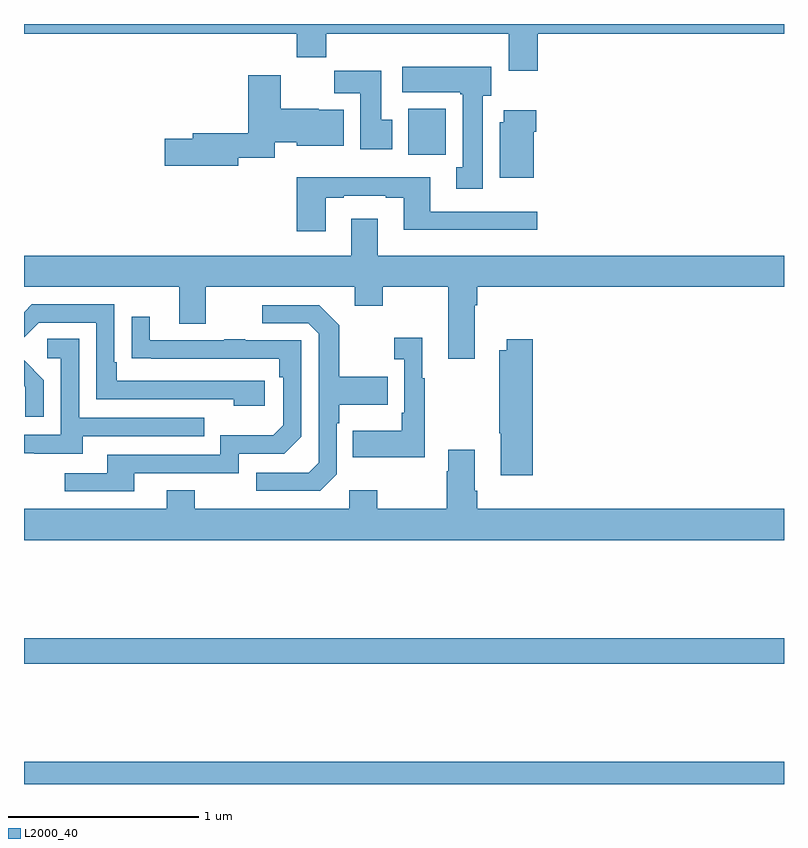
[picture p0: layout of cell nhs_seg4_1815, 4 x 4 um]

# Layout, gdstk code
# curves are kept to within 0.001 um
import gdstk
lib = gdstk.Library(unit=1e-6, precision=1e-09)
def R(c, l, rs):  # rectangles x0, y0, x1, y1
    for r in rs: c.add(gdstk.rectangle(r[:2], r[2:], *l))
def P(c, l, *ps):  # polygons
    for p in ps: c.add(gdstk.Polygon(p, *l))
L2000_40 = (2000, 40)

nhs_seg4_1815 = lib.new_cell('nhs_seg4_1815')
R(nhs_seg4_1815, L2000_40, [(205,764.9,209,765.016), (205,765.532,209,765.668), (207.023,768.212,207.22,768.454)])
P(nhs_seg4_1815, L2000_40, [(207.704,768.848),(209,768.848),(209,768.9),(205,768.9),(205,768.848),(206.435,768.848),(206.435,768.724),(206.591,768.724),(206.591,768.848),(207.551,768.848),(207.551,768.654),(207.704,768.654)],
  [(207.415,768.522),(207.46,768.522),(207.46,768.676),(206.991,768.676),(206.991,768.542),(207.295,768.542),(207.295,768.529),(207.308,768.529),(207.308,768.146),(207.275,768.146),(207.275,768.033),(207.415,768.033)],
  [(206.938,768.396),(206.881,768.396),(206.881,768.655),(206.632,768.655),(206.632,768.536),(206.771,768.536),(206.771,768.24),(206.938,768.24)],
  [(206.128,768.196),(206.32,768.196),(206.32,768.278),(206.436,768.278),(206.436,768.26),(206.683,768.26),(206.683,768.448),(206.55,768.448),(206.55,768.454),(206.35,768.454),(206.35,768.631),(206.18,768.631),(206.18,768.326),(205.889,768.326),(205.889,768.296),(205.74,768.296),(205.74,768.154),(206.128,768.154)],
  [(207.682,768.332),(207.695,768.332),(207.695,768.445),(207.524,768.445),(207.524,768.384),(207.503,768.384),(207.503,768.092),(207.682,768.092)],
  [(206.587,767.985),(206.683,767.985),(206.683,767.997),(206.903,767.997),(206.903,767.985),(206.999,767.985),(206.999,767.816),(207.7,767.816),(207.7,767.913),(207.139,767.913),(207.139,768.094),(206.435,768.094),(206.435,767.808),(206.587,767.808)],
  [(207.373,767.42),(207.386,767.42),(207.386,767.516),(209,767.516),(209,767.68),(206.863,767.68),(206.863,767.875),(206.723,767.875),(206.723,767.68),(205,767.68),(205,767.516),(205.817,767.516),(205.817,767.322),(205.957,767.322),(205.957,767.516),(206.741,767.516),(206.741,767.417),(206.889,767.417),(206.889,767.516),(207.233,767.516),(207.233,767.139),(207.373,767.139)],
  [(206.266,767.022),(205.489,767.022),(205.489,767.119),(205.476,767.119),(205.476,767.424),(205.041,767.424),(205,767.383),(205,767.251),(205.077,767.328),(205.38,767.328),(205.38,766.926),(206.105,766.926),(206.105,766.892),(206.266,766.892)],
  [(206.646,766.53),(206.646,766.799),(206.659,766.799),(206.659,766.895),(206.915,766.895),(206.915,767.043),(206.659,767.043),(206.659,767.315),(206.553,767.421),(206.253,767.421),(206.253,767.325),(206.496,767.325),(206.55,767.271),(206.55,766.59),(206.499,766.539),(206.223,766.539),(206.223,766.443),(206.559,766.443)],
  [(205.579,766.536),(206.13,766.536),(206.13,766.638),(206.37,766.638),(206.46,766.728),(206.46,767.235),(206.165,767.235),(206.165,767.24),(206.053,767.24),(206.053,767.235),(205.663,767.235),(205.663,767.359),(205.567,767.359),(205.567,767.14),(206.344,767.139),(206.344,767.042),(206.364,767.042),(206.364,766.788),(206.311,766.735),(206.034,766.735),(206.034,766.632),(205.439,766.632),(205.439,766.536),(205.215,766.536),(205.215,766.44),(205.579,766.44)],
  [(207.109,767.035),(207.097,767.035),(207.097,767.248),(206.949,767.248),(206.949,767.135),(207,767.135),(207,766.855),(206.988,766.855),(206.988,766.759),(206.731,766.759),(206.731,766.619),(207.109,766.619)],
  [(205.309,766.731),(205.949,766.731),(205.949,766.827),(205.29,766.827),(205.29,767.243),(205.122,767.243),(205.122,767.142),(205.194,767.142),(205.194,766.737),(205,766.737),(205,766.641),(205.055,766.641),(205.055,766.637),(205.309,766.637)],
  [(207.677,767.242),(207.542,767.242),(207.542,767.182),(207.502,767.182),(207.502,766.747),(207.509,766.747),(207.509,766.524),(207.677,766.524)],
  [(205.104,767.026),(205,767.13),(205,766.996),(205.007,766.989),(205.007,766.833),(205.104,766.833)],
  [(209,766.348),(207.386,766.348),(207.386,766.444),(207.373,766.444),(207.373,766.66),(207.233,766.66),(207.233,766.547),(207.226,766.547),(207.226,766.348),(206.859,766.348),(206.859,766.447),(206.712,766.447),(206.712,766.348),(205.899,766.348),(205.899,766.447),(205.751,766.447),(205.751,766.348),(205,766.348),(205,766.184),(209,766.184)])

lib.write_gds('nhs_seg4_1815.gds')
